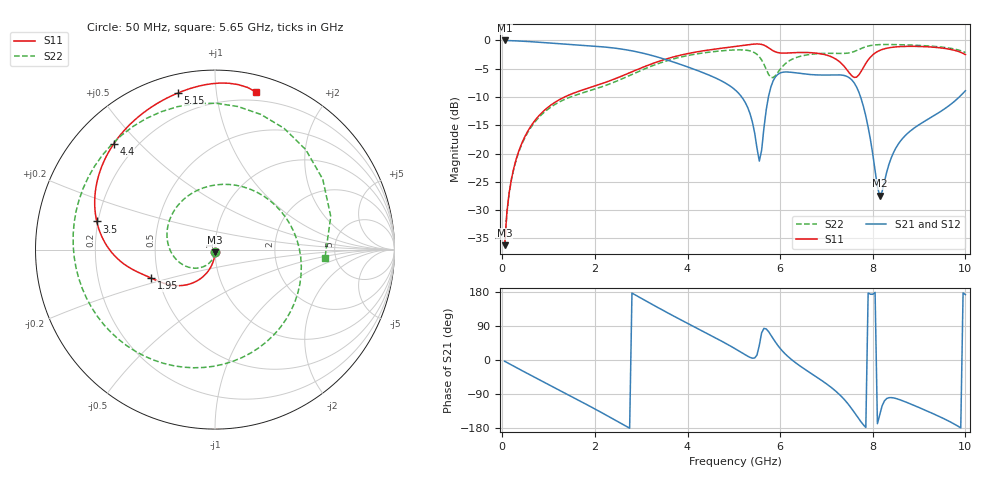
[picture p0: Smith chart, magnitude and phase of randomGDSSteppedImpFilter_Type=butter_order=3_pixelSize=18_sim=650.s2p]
! freq	dB(S11)	phase(S11)	dB(S12)	phase(S12)
!  dB(S21)	phase(S21)	dB(S22)	phase(S22)
!S-par simulation data
#  GHz  S  DB  R 50
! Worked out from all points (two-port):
!   200 points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, 50 MHz to 10 GHz, reference 50 ohm
!   highest |S21| = -0.01 dB at 50 MHz (marker M1); lowest = -27.5 dB at 8.15 GHz (marker M2)
!   |S21| within 3 dB of the highest: start of sweep to 3.38 GHz
!   lowest |S11| = -36.2 dB at 50 MHz (marker M3), VSWR 1.03, Z = 50 - j1.54 ohm
!   |S11| at or under -10 dB: start of sweep to 1.347 GHz
!   |S22| runs from -36.4 to -0.7 dB; largest |S21 - S12| = 0
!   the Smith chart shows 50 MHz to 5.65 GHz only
!   S11 on the Smith chart (normalised r, x): 50 MHz: 1.00, -0.03; 1.95 GHz: 0.45, -0.17; 3.5 GHz: 0.20, +0.11; 4.4 GHz: 0.12, +0.42; 5.15 GHz: 0.09, +0.79; 5.65 GHz: 0.13, +1.29
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0.05  -36.25 -90.2  -0.01 -3.3  -0.01 -3.3  -36.38 -92.2
0.5  -16.81 -110.6  -0.17 -32.8  -0.17 -32.8  -17.01 -133.1
1.75  -8.72 -151.9  -0.87 -112.9  -0.87 -112.9  -9.23 105.7
1.95  -8.18 -156.0  -0.99 -125.9  -0.99 -125.9  -8.73 83.3
2.75  -5.73 -171.4  -1.77 -180.0  -1.77 -180.0  -6.20 -10.9
3.4  -3.65 170.0  -3.06 135.7  -3.06 135.7  -4.01 -80.8
3.5  -3.39 166.6  -3.31 129.1  -3.31 129.1  -3.74 -90.7
4.4  -1.77 133.7  -5.92 71.4  -5.92 71.4  -2.15 -172.7
5.05  -1.06 107.8  -8.91 28.2  -8.91 28.2  -1.68 123.7
5.15  -0.95 103.4  -9.79 20.9  -9.79 20.9  -1.67 111.4
5.45  -0.64 88.2  -16.39 5.3  -16.39 5.3  -2.18 60.3
5.65  -0.84 75.3  -15.47 83.5  -15.47 83.5  -4.23 -4.4
5.8  -1.59 67.3  -8.22 65.8  -8.22 65.8  -6.55 -86.0
6  -2.22 62.2  -5.76 30.6  -5.76 30.6  -5.10 -179.5
6.7  -2.19 29.0  -6.07 -38.0  -6.07 -38.0  -2.43 74.9
7.2  -3.30 -19.0  -6.08 -82.1  -6.08 -82.1  -2.29 37.2
7.5  -5.82 -87.2  -6.64 -121.2  -6.64 -121.2  -2.19 21.2
7.75  -5.46 166.1  -10.32 -163.8  -10.32 -163.8  -1.43 8.7
8.15  -1.78 70.7  -27.47 -144.6  -27.47 -144.6  -0.74 -17.4
8.35  -1.31 47.5  -21.89 -99.5  -21.89 -99.5  -0.73 -29.2
9.1  -1.10 -6.2  -14.39 -130.8  -14.39 -130.8  -0.93 -67.6
10  -2.51 -60.2  -8.90 172.7  -8.90 172.7  -2.15 -115.6
